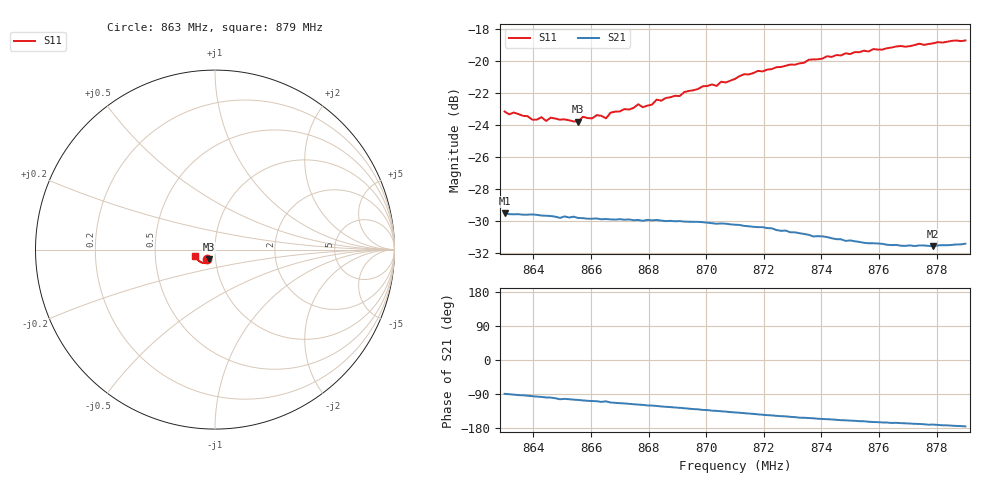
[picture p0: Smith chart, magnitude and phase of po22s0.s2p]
# HZ S RI R 50
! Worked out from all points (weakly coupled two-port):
!   101 points, 863 MHz to 879 MHz, reference 50 ohm
!   highest |S21| = -29.49 dB at 863 MHz (marker M1); lowest = -31.5 dB at 877.88 MHz (marker M2)
!   lowest |S11| = -23.8 dB at 865.56 MHz (marker M3), VSWR 1.14, Z = 46.4 - j5.13 ohm
!   |S11| at or under -10 dB: start of sweep to end of sweep
!   S12 and S22 are empty: the file has one direction only
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8.63e8  -0.044 -0.054  0.00045 -0.0335  0 0  0 0
8.6396e8  -0.0393 -0.0526  -0.00316 -0.0331  0 0  0 0
8.6428e8  -0.0374 -0.0555  -0.00428 -0.0327  0 0  0 0
8.6444e8  -0.0377 -0.0531  -0.00505 -0.0325  0 0  0 0
8.646e8  -0.0372 -0.0553  -0.00525 -0.0324  0 0  0 0
8.6556e8  -0.0343 -0.055  -0.00861 -0.0312  0 0  0 0
8.6572e8  -0.035 -0.0573  -0.00928 -0.031  0 0  0 0
8.6604e8  -0.0329 -0.0576  -0.0101 -0.0306  0 0  0 0
8.662e8  -0.0338 -0.0589  -0.0104 -0.0306  0 0  0 0
8.6652e8  -0.0316 -0.0584  -0.0104 -0.0304  0 0  0 0
8.6668e8  -0.0341 -0.0601  -0.0121 -0.0297  0 0  0 0
8.6732e8  -0.0339 -0.062  -0.0139 -0.0289  0 0  0 0
8.6764e8  -0.0348 -0.0647  -0.0148 -0.0283  0 0  0 0
8.678e8  -0.0339 -0.0633  -0.0151 -0.0279  0 0  0 0
8.6828e8  -0.036 -0.0668  -0.0166 -0.0273  0 0  0 0
8.6844e8  -0.0358 -0.0663  -0.0171 -0.0268  0 0  0 0
8.71e8  -0.0484 -0.0736  -0.023 -0.0205  0 0  0 0
8.7132e8  -0.0511 -0.0754  -0.0235 -0.0196  0 0  0 0
8.7372e8  -0.0689 -0.0743  -0.0255 -0.0125  0 0  0 0
8.7644e8  -0.0925 -0.0602  -0.0259 -0.00636  0 0  0 0
8.7788e8  -0.1028 -0.0487  -0.0261 -0.00443  0 0  0 0
8.79e8  -0.1097 -0.0379  -0.0268 -0.00226  0 0  0 0
